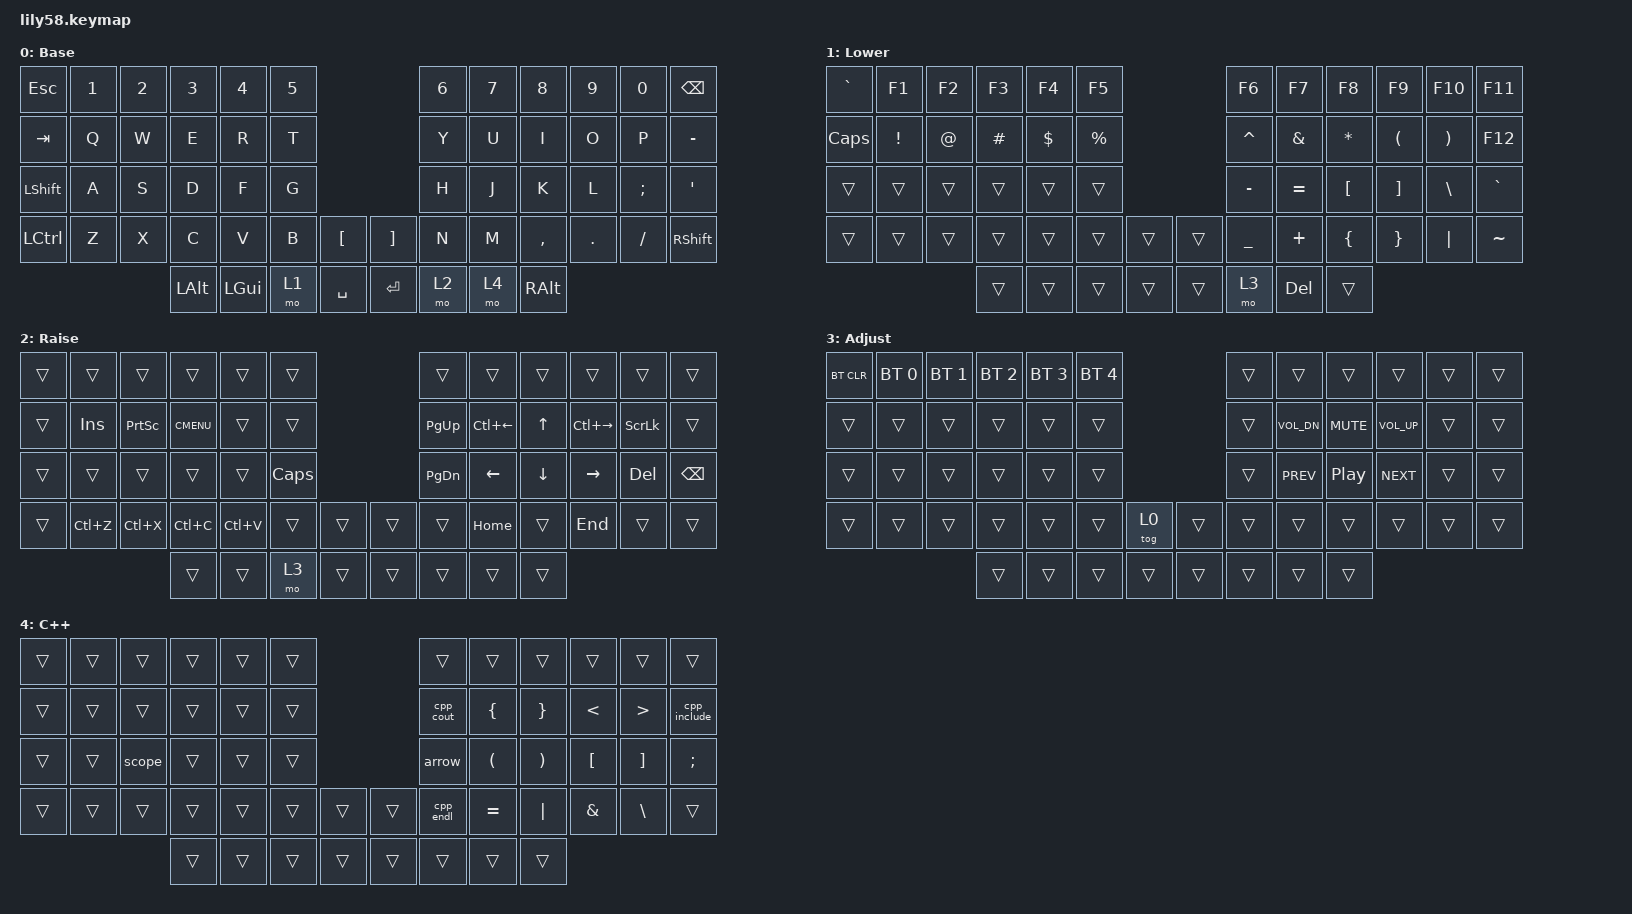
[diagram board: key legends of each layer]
/*
 * Lily58 ZMK Keymap
 *
 * Layer 0: Base (QWERTY)
 * Layer 1: Lower (F-keys, symbols)
 * Layer 2: Raise (Navigation)
 * Layer 3: Adjust (BT, media)
 * Layer 4: C++ (macros, coding shortcuts)
 * Layer 5: Gaming (Fortnite/LoL optimized)
 */

#include <behaviors.dtsi>
#include <dt-bindings/zmk/bt.h>
#include <dt-bindings/zmk/keys.h>

/ {
    macros {
        // C++ macros

        arrow: arrow {
            compatible = "zmk,behavior-macro";
            #binding-cells = <0>;
            bindings = <&kp MINUS &kp GT>;        // ->
        };

        scope: scope {
            compatible = "zmk,behavior-macro";
            #binding-cells = <0>;
            bindings = <&kp COLON &kp COLON>;     // ::
        };

        cpp_cout: cpp_cout {
            compatible = "zmk,behavior-macro";
            #binding-cells = <0>;
            bindings = <&kp S &kp T &kp D &scope &kp C &kp O &kp U &kp T &kp SPACE &kp LT &kp LT &kp SPACE>;  // std::cout <<
        };

        cpp_endl: cpp_endl {
            compatible = "zmk,behavior-macro";
            #binding-cells = <0>;
            bindings = <&kp S &kp T &kp D &scope &kp E &kp N &kp D &kp L>;  // std::endl
        };

        cpp_include: cpp_include {
            compatible = "zmk,behavior-macro";
            #binding-cells = <0>;
            bindings = <&kp HASH &kp I &kp N &kp C &kp L &kp U &kp D &kp E &kp SPACE>;  // #include
        };
    };

    behaviors {
        // Tap ESC, Hold LCTRL (great for coding)

        esc_ctrl: esc_ctrl {
            compatible = "zmk,behavior-mod-morph";
            #binding-cells = <0>;
            bindings = <&kp ESC>, <&kp ESC>;

            mods = <0>;
        };
    };

    keymap {
        compatible = "zmk,keymap";

        default_layer {
            display-name = "Base";
            bindings = <
&kp ESC           &kp N1  &kp N2  &kp N3    &kp N4    &kp N5                         &kp N6  &kp N7  &kp N8     &kp N9   &kp N0    &kp BACKSPACE
&kp TAB           &kp Q   &kp W   &kp E     &kp R     &kp T                          &kp Y   &kp U   &kp I      &kp O    &kp P     &kp MINUS
&kp LEFT_SHIFT    &kp A   &kp S   &kp D     &kp F     &kp G                          &kp H   &kp J   &kp K      &kp L    &kp SEMI  &kp SQT
&kp LEFT_CONTROL  &kp Z   &kp X   &kp C     &kp V     &kp B   &kp LBKT     &kp RBKT  &kp N   &kp M   &kp COMMA  &kp DOT  &kp FSLH  &kp RSHFT
                                  &kp LALT  &kp LGUI  &mo 1   &kp SPACE    &kp RET   &mo 2   &mo 4   &kp RALT
            >;
        };

        lower_layer {
            display-name = "Lower";
            bindings = <
&kp GRAVE     &kp F1    &kp F2  &kp F3    &kp F4    &kp F5                       &kp F6     &kp F7     &kp F8    &kp F9    &kp F10   &kp F11
&kp CAPSLOCK  &kp EXCL  &kp AT  &kp HASH  &kp DLLR  &kp PRCNT                    &kp CARET  &kp AMPS   &kp STAR  &kp LPAR  &kp RPAR  &kp F12
&trans        &trans    &trans  &trans    &trans    &trans                       &kp MINUS  &kp EQUAL  &kp LBKT  &kp RBKT  &kp BSLH  &kp GRAVE
&trans        &trans    &trans  &trans    &trans    &trans     &trans    &trans  &kp UNDER  &kp PLUS   &kp LBRC  &kp RBRC  &kp PIPE  &kp TILDE
                                &trans    &trans    &trans     &trans    &trans  &mo 3      &kp DEL    &trans
            >;
        };

        raise_layer {
            display-name = "Raise";
            bindings = <
&trans  &trans     &trans     &trans       &trans     &trans                      &trans     &trans        &trans    &trans         &trans    &trans
&trans  &kp INS    &kp PSCRN  &kp K_CMENU  &trans     &trans                      &kp PG_UP  &kp LC(LEFT)  &kp UP    &kp LC(RIGHT)  &kp SLCK  &trans
&trans  &trans     &trans     &trans       &trans     &kp CLCK                    &kp PG_DN  &kp LEFT      &kp DOWN  &kp RIGHT      &kp DEL   &kp BSPC
&trans  &kp LC(Z)  &kp LC(X)  &kp LC(C)    &kp LC(V)  &trans    &trans    &trans  &trans     &kp HOME      &trans    &kp END        &trans    &trans
                              &trans       &trans     &mo 3     &trans    &trans  &trans     &trans        &trans
            >;
        };

        adjust_layer {
            display-name = "Adjust";
            bindings = <
&bt BT_CLR  &bt BT_SEL 0  &bt BT_SEL 1  &bt BT_SEL 2  &bt BT_SEL 3  &bt BT_SEL 4                    &trans  &trans        &trans      &trans        &trans  &trans
&trans      &trans        &trans        &trans        &trans        &trans                          &trans  &kp C_VOL_DN  &kp C_MUTE  &kp C_VOL_UP  &trans  &trans
&trans      &trans        &trans        &trans        &trans        &trans                          &trans  &kp C_PREV    &kp C_PP    &kp C_NEXT    &trans  &trans
&trans      &trans        &trans        &trans        &trans        &trans        &tog 0    &trans  &trans  &trans        &trans      &trans        &trans  &trans
                                        &trans        &trans        &trans        &trans    &trans  &trans  &trans        &trans
            >;
        };

        cpp_layer {
            display-name = "C++";
            bindings = <
&trans  &trans  &trans  &trans  &trans  &trans                    &trans     &trans     &trans    &trans    &trans    &trans
&trans  &trans  &trans  &trans  &trans  &trans                    &cpp_cout  &kp LBRC   &kp RBRC  &kp LT    &kp GT    &cpp_include
&trans  &trans  &scope  &trans  &trans  &trans                    &arrow     &kp LPAR   &kp RPAR  &kp LBKT  &kp RBKT  &kp SEMI
&trans  &trans  &trans  &trans  &trans  &trans  &trans    &trans  &cpp_endl  &kp EQUAL  &kp PIPE  &kp AMPS  &kp BSLH  &trans
                        &trans  &trans  &trans  &trans    &trans  &trans     &trans     &trans
            >;
        };
    };
};
